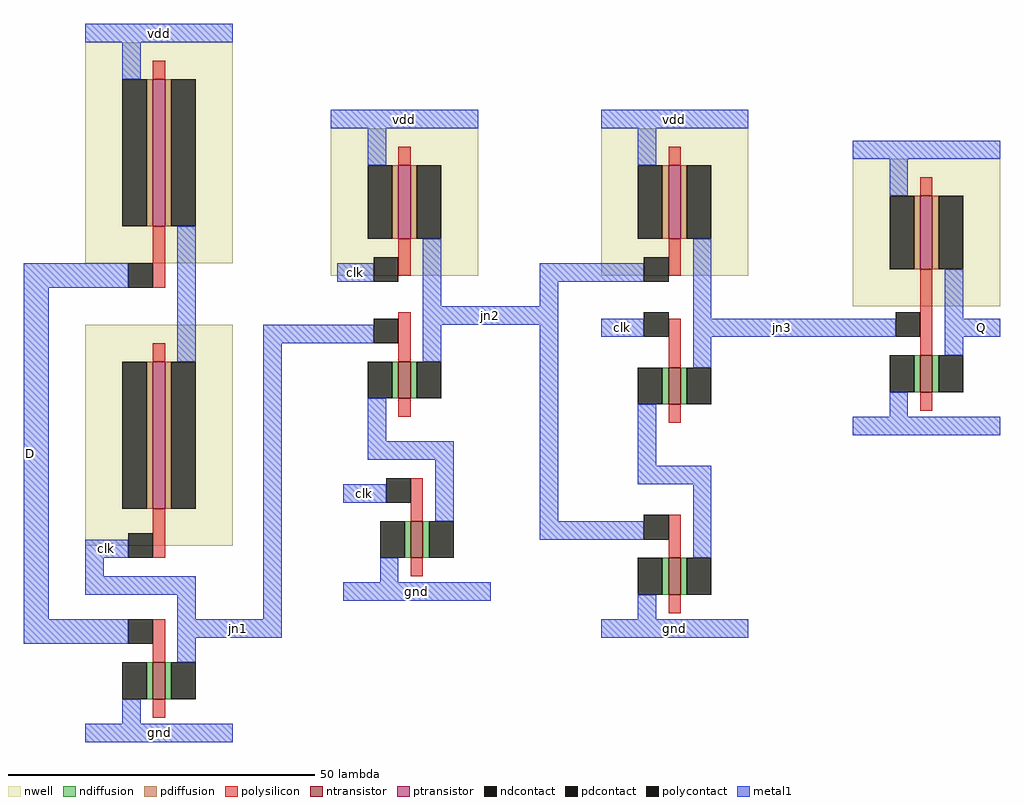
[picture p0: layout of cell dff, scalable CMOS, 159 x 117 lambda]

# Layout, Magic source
magic
tech scmos
<< nwell >>
rect -73 27 -49 63
rect -33 25 -9 49
rect 11 25 35 49
rect -73 -19 -49 17
<< ntransistor >>
rect -22 5 -20 11
rect 22 4 24 10
rect -20 -21 -18 -15
rect 22 -27 24 -21
rect -62 -44 -60 -38
<< ptransistor >>
rect -62 33 -60 57
rect -22 31 -20 43
rect 22 31 24 43
rect -62 -13 -60 11
<< ndiffusion >>
rect -23 5 -22 11
rect -20 5 -19 11
rect 21 4 22 10
rect 24 4 25 10
rect -21 -21 -20 -15
rect -18 -21 -17 -15
rect 21 -27 22 -21
rect 24 -27 25 -21
rect -63 -44 -62 -38
rect -60 -44 -59 -38
<< pdiffusion >>
rect -63 33 -62 57
rect -60 33 -59 57
rect -23 31 -22 43
rect -20 31 -19 43
rect 21 31 22 43
rect 24 31 25 43
rect -63 -13 -62 11
rect -60 -13 -59 11
<< ndcontact >>
rect -27 5 -23 11
rect -19 5 -15 11
rect 17 4 21 10
rect 25 4 29 10
rect -25 -21 -21 -15
rect -17 -21 -13 -15
rect 17 -27 21 -21
rect 25 -27 29 -21
rect -67 -44 -63 -38
rect -59 -44 -55 -38
<< pdcontact >>
rect -67 33 -63 57
rect -59 33 -55 57
rect -27 31 -23 43
rect -19 31 -15 43
rect 17 31 21 43
rect 25 31 29 43
rect -67 -13 -63 11
rect -59 -13 -55 11
<< polysilicon >>
rect -62 57 -60 60
rect -22 43 -20 46
rect 22 43 24 46
rect -62 23 -60 33
rect -22 25 -20 31
rect 22 25 24 31
rect -62 11 -60 14
rect -22 11 -20 19
rect 22 10 24 18
rect -22 2 -20 5
rect 22 1 24 4
rect -62 -21 -60 -13
rect -20 -15 -18 -8
rect 22 -21 24 -14
rect -20 -24 -18 -21
rect 22 -30 24 -27
rect -62 -38 -60 -31
rect -62 -47 -60 -44
<< polycontact >>
rect -66 23 -62 27
rect -26 24 -22 28
rect 18 24 22 28
rect -26 14 -22 18
rect 18 15 22 19
rect -24 -12 -20 -8
rect -66 -21 -62 -17
rect 18 -18 22 -14
rect -66 -35 -62 -31
<< metal1 >>
rect -73 63 -49 66
rect -67 57 -64 63
rect -33 49 -9 52
rect 11 49 35 52
rect -83 23 -66 27
rect -83 -31 -79 23
rect -58 11 -55 33
rect -27 43 -24 49
rect 17 43 20 49
rect -32 24 -26 27
rect -18 20 -15 31
rect 1 24 18 27
rect 1 20 4 24
rect -44 14 -26 17
rect -18 17 4 20
rect -73 -21 -66 -18
rect -73 -24 -70 -21
rect -73 -27 -55 -24
rect -58 -31 -55 -27
rect -44 -31 -41 14
rect -18 11 -15 17
rect -27 -2 -24 5
rect -27 -5 -13 -2
rect -31 -12 -24 -9
rect -16 -15 -13 -5
rect 1 -15 4 17
rect 11 15 18 18
rect 26 18 29 31
rect 26 15 52 18
rect 26 10 29 15
rect 17 -6 20 4
rect 17 -9 29 -6
rect 1 -18 18 -15
rect 26 -21 29 -9
rect -25 -25 -22 -21
rect -31 -28 -7 -25
rect 17 -31 20 -27
rect -83 -35 -66 -31
rect -58 -34 -41 -31
rect 11 -34 35 -31
rect -58 -38 -55 -34
rect -67 -48 -64 -44
rect -73 -51 -49 -48
use inv  inv_0
transform 1 0 52 0 1 14
box 0 -15 24 33
<< labels >>
rlabel space 70 15 76 18 1 Q
rlabel metal1 -83 -6 -81 -2 3 D
rlabel metal1 -73 63 -49 66 5 vdd
rlabel metal1 -55 -34 -41 -31 1 jn1
rlabel metal1 -73 -51 -49 -48 1 gnd
rlabel metal1 -33 49 -9 52 1 vdd
rlabel metal1 -32 24 -26 27 1 clk
rlabel metal1 -15 17 1 20 1 jn2
rlabel metal1 11 15 18 18 1 clk
rlabel metal1 11 49 35 52 1 vdd
rlabel metal1 29 15 52 18 1 jn3
rlabel metal1 -73 -21 -66 -18 1 clk
rlabel metal1 11 -34 35 -31 1 gnd
rlabel metal1 -31 -28 -7 -25 1 gnd
rlabel metal1 -31 -12 -24 -9 1 clk
<< end >>

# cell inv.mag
magic
tech scmos
<< nwell >>
rect 0 6 24 30
<< ntransistor >>
rect 11 -8 13 -2
<< ptransistor >>
rect 11 12 13 24
<< ndiffusion >>
rect 10 -8 11 -2
rect 13 -8 14 -2
<< pdiffusion >>
rect 10 12 11 24
rect 13 12 14 24
<< ndcontact >>
rect 6 -8 10 -2
rect 14 -8 18 -2
<< pdcontact >>
rect 6 12 10 24
rect 14 12 18 24
<< polysilicon >>
rect 11 24 13 27
rect 11 -2 13 12
rect 11 -11 13 -8
<< polycontact >>
rect 7 1 11 5
<< metal1 >>
rect 0 30 24 33
rect 6 24 9 30
rect 0 1 7 4
rect 15 4 18 12
rect 15 1 24 4
rect 15 -2 18 1
rect 6 -12 9 -8
rect 0 -15 24 -12
<< labels >>
rlabel metal1 0 30 24 33 5 vdd
rlabel metal1 18 1 24 4 7 op
rlabel metal1 0 1 7 4 3 in
rlabel metal1 0 -15 24 -12 1 gnd
<< end >>
